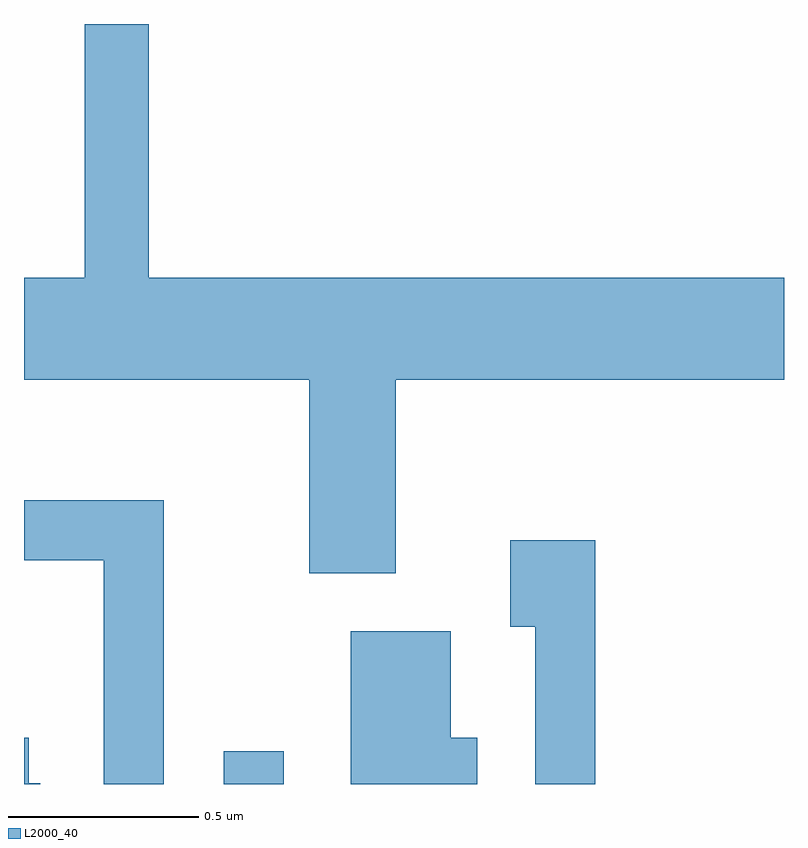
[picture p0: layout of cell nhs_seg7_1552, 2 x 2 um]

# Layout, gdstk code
import gdstk
lib = gdstk.Library(unit=1e-6, precision=1e-09)
def R(c, l, rs):  # rectangles x0, y0, x1, y1
    for r in rs: c.add(gdstk.rectangle(r[:2], r[2:], *l))
def P(c, l, *ps):  # polygons
    for p in ps: c.add(gdstk.Polygon(p, *l))
L2000_40 = (2000, 40)

nhs_seg7_1552 = lib.new_cell('nhs_seg7_1552')
R(nhs_seg7_1552, L2000_40, [(197.136,1713.252,197.294,1713.338)])
P(nhs_seg7_1552, L2000_40, [(197.589,1714.316),(198.611,1714.316),(198.611,1714.584),(196.939,1714.584),(196.939,1715.252),(196.771,1715.252),(196.771,1714.584),(196.611,1714.584),(196.611,1714.316),(197.361,1714.316),(197.361,1713.806),(197.589,1713.806)],
  [(196.979,1713.999),(196.611,1713.999),(196.611,1713.841),(196.821,1713.841),(196.821,1713.252),(196.979,1713.252)],
  [(198.114,1713.894),(197.891,1713.894),(197.891,1713.666),(197.956,1713.666),(197.956,1713.252),(198.114,1713.252)],
  [(197.804,1713.374),(197.734,1713.374),(197.734,1713.654),(197.471,1713.654),(197.471,1713.252),(197.804,1713.252)],
  [(196.654,1713.254),(196.624,1713.254),(196.624,1713.374),(196.611,1713.374),(196.611,1713.252),(196.654,1713.252)])

lib.write_gds('nhs_seg7_1552.gds')
